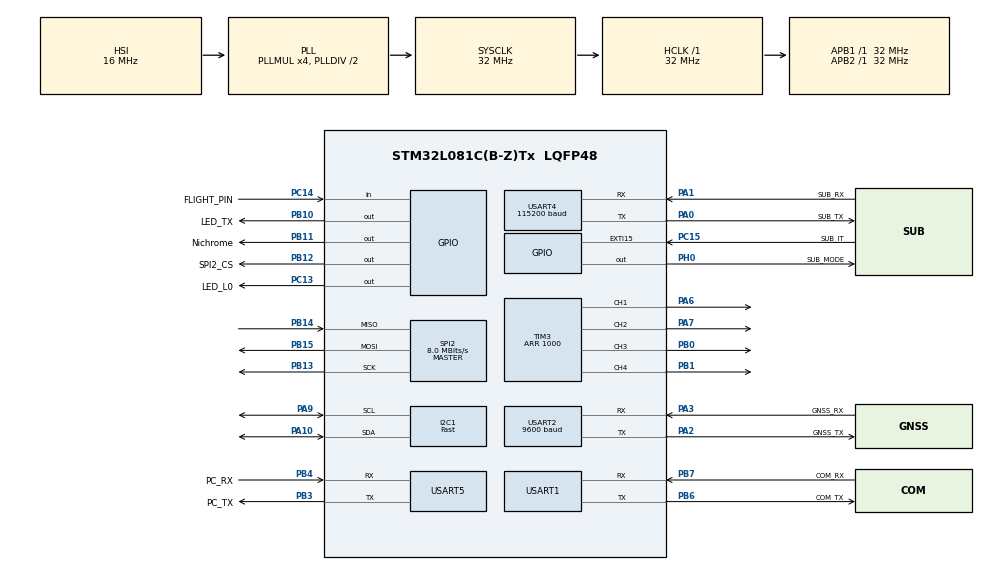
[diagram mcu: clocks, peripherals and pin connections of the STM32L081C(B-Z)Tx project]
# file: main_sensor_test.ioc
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I2C1.I2C_Speed_Mode=I2C_Fast
I2C1.Timing=0x00300F38
Mcu.Family=STM32L0
Mcu.Name=STM32L081C(B-Z)Tx
Mcu.Package=LQFP48
NVIC.EXTI4_15_IRQn=true\:2\:0\:true\:false\:true\:true\:true
NVIC.TIM2_IRQn=true\:1\:0\:true\:false\:true\:true\:true
PA0.GPIO_Label=SUB_TX
PA0.GPIO_PuPd=GPIO_PULLUP
PA0.Mode=Asynchronous
PA0.Signal=USART4_TX
PA1.GPIO_Label=SUB_RX
PA1.GPIO_PuPd=GPIO_PULLUP
PA1.Mode=Asynchronous
PA1.Signal=USART4_RX
PA10.Mode=I2C
PA10.Signal=I2C1_SDA
PA13.Mode=Serial_Wire
PA13.Signal=SYS_SWDIO
PA14.Mode=Serial_Wire
PA14.Signal=SYS_SWCLK
PA2.GPIO_Label=GNSS_TX
PA2.Mode=Asynchronous
PA2.Signal=USART2_TX
PA3.GPIO_Label=GNSS_RX
PA3.Mode=Asynchronous
PA3.Signal=USART2_RX
PA6.Signal=S_TIM3_CH1
PA7.Signal=S_TIM3_CH2
PA9.Mode=I2C
PA9.Signal=I2C1_SCL
PB0.Signal=S_TIM3_CH3
PB1.Signal=S_TIM3_CH4
PB10.GPIO_Label=LED_TX
PB10.Signal=GPIO_Output
PB11.GPIO_Label=Nichrome
PB11.Signal=GPIO_Output
PB12.GPIO_Label=SPI2_CS
PB12.GPIO_PuPd=GPIO_NOPULL
PB12.GPIO_Speed=GPIO_SPEED_FREQ_VERY_HIGH
PB12.PinState=GPIO_PIN_SET
PB12.Signal=GPIO_Output
PB13.Mode=Full_Duplex_Master
PB13.Signal=SPI2_SCK
PB14.Mode=Full_Duplex_Master
PB14.Signal=SPI2_MISO
PB15.Mode=Full_Duplex_Master
PB15.Signal=SPI2_MOSI
PB3.GPIO_Label=PC_TX
PB3.Mode=Asynchronous
PB3.Signal=USART5_TX
PB4.GPIO_Label=PC_RX
PB4.Mode=Asynchronous
PB4.Signal=USART5_RX
PB6.GPIO_Label=COM_TX
PB6.Mode=Asynchronous
PB6.Signal=USART1_TX
PB7.GPIO_Label=COM_RX
PB7.Mode=Asynchronous
PB7.Signal=USART1_RX
PC13.GPIO_Label=LED_L0
PC13.Signal=GPIO_Output
PC14-OSC32_IN.GPIO_Label=FLIGHT_PIN
PC14-OSC32_IN.Signal=GPIO_Input
PC15-OSC32_OUT.GPIO_Label=SUB_IT
PC15-OSC32_OUT.GPIO_ModeDefaultEXTI=GPIO_MODE_IT_RISING
PC15-OSC32_OUT.Signal=GPXTI15
PH0-OSC_IN.GPIO_Label=SUB_MODE
PH0-OSC_IN.Signal=GPIO_Output
ProjectManager.HeapSize=0x200
ProjectManager.StackSize=0x400
ProjectManager.TargetToolchain=STM32CubeIDE
RCC.AHBFreq_Value=32000000
RCC.APB1Freq_Value=32000000
RCC.APB1TimFreq_Value=32000000
RCC.APB2Freq_Value=32000000
RCC.APB2TimFreq_Value=32000000
RCC.HCLKFreq_Value=32000000
RCC.HSE_VALUE=8000000
RCC.HSI16_VALUE=16000000
RCC.HSI_VALUE=16000000
RCC.LSE_VALUE=32768
RCC.MSI_VALUE=2097000
RCC.PLLMUL=RCC_PLLMUL_4
RCC.SYSCLKFreq_VALUE=32000000
RCC.SYSCLKSource=RCC_SYSCLKSOURCE_PLLCLK
RCC.VCOOutputFreq_Value=64000000
SH.S_TIM3_CH1.0=TIM3_CH1,PWM Generation1 CH1
SH.S_TIM3_CH2.0=TIM3_CH2,PWM Generation2 CH2
SH.S_TIM3_CH3.0=TIM3_CH3,PWM Generation3 CH3
SH.S_TIM3_CH4.0=TIM3_CH4,PWM Generation4 CH4
SPI2.BaudRatePrescaler=SPI_BAUDRATEPRESCALER_4
SPI2.CalculateBaudRate=8.0 MBits/s
SPI2.Direction=SPI_DIRECTION_2LINES
SPI2.Mode=SPI_MODE_MASTER
SPI2.VirtualType=VM_MASTER
TIM2.AutoReloadPreload=TIM_AUTORELOAD_PRELOAD_ENABLE
TIM2.Period=1000
TIM2.Prescaler=320
TIM3.Channel-PWM\ Generation1\ CH1=TIM_CHANNEL_1
TIM3.Channel-PWM\ Generation2\ CH2=TIM_CHANNEL_2
TIM3.Channel-PWM\ Generation3\ CH3=TIM_CHANNEL_3
TIM3.Channel-PWM\ Generation4\ CH4=TIM_CHANNEL_4
TIM3.Period=1000
USART1.VirtualMode-Asynchronous=VM_ASYNC
USART2.BaudRate=9600
USART2.DMADisableonRxErrorParam=ADVFEATURE_DMA_DISABLEONRXERROR
USART2.OverrunDisableParam=ADVFEATURE_OVERRUN_DISABLE
USART2.SwapParam=ADVFEATURE_SWAP_DISABLE
USART2.VirtualMode-Asynchronous=VM_ASYNC
USART4.BaudRate=115200
USART4.DMADisableonRxErrorParam=ADVFEATURE_DMA_DISABLEONRXERROR
USART4.OverrunDisableParam=ADVFEATURE_OVERRUN_DISABLE
USART4.SwapParam=ADVFEATURE_SWAP_ENABLE
USART4.VirtualMode-Asynchronous=VM_ASYNC
USART5.VirtualMode-Asynchronous=VM_ASYNC
VP_TIM2_VS_ClockSourceINT.Mode=Internal
board=custom

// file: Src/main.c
/* USER CODE BEGIN Header */
/**
  ******************************************************************************
  * @file           : main.c
  * @brief          : Main program body
  ******************************************************************************
  * @attention
  *
  * <h2><center>&copy; Copyright (c) 2019 STMicroelectronics.
  * All rights reserved.</center></h2>
  *
  * This software component is licensed by ST under BSD 3-Clause license,
  * the "License"; You may not use this file except in compliance with the
  * License. You may obtain a copy of the License at:
  *                        opensource.org/licenses/BSD-3-Clause
  *
  ******************************************************************************
  */
/* USER CODE END Header */

#include "main.h"

/* USER CODE BEGIN Includes */
#include <stdio.h>
#include "cansat.h"
#include "CUI.h"
#include <string.h>
/* USER CODE END Includes */

I2C_HandleTypeDef hi2c1;

SPI_HandleTypeDef hspi2;

TIM_HandleTypeDef htim2;
TIM_HandleTypeDef htim3;

UART_HandleTypeDef huart1;
UART_HandleTypeDef huart2;
UART_HandleTypeDef huart4;
UART_HandleTypeDef huart5;

/* USER CODE BEGIN PV */
void __io_putchar(uint8_t ch) {
	HAL_UART_Transmit(&huart5, &ch, 1, 1);
	HAL_UART_Transmit(&huart1, &ch, 1, 1); //COM
}
/* USER CODE END PV */

void SystemClock_Config(void);
static void MX_GPIO_Init(void);
static void MX_I2C1_Init(void);
static void MX_SPI2_Init(void);
static void MX_TIM3_Init(void);
static void MX_USART1_UART_Init(void);
static void MX_USART2_UART_Init(void);
static void MX_USART4_UART_Init(void);
static void MX_USART5_UART_Init(void);
static void MX_TIM2_Init(void);

/* USER CODE BEGIN 0 */

static img_t img_data = { 0 };
static uint8_t sub_rx_buff[11] = { 0 };
static cansat_t cansat_data;

void HAL_GPIO_EXTI_Callback(uint16_t GPIO_Pin) {
	for (int i = 0; i < 10; i++) {
		HAL_UART_Receive(&huart4, &sub_rx_buff[0], 1, 50);
		if (sub_rx_buff[0] == '$')break;
	}
	HAL_UART_Receive(&huart4, &sub_rx_buff[0], 11, 50);
	if (sub_rx_buff[0] == 'O') {
		img_data.name = (sub_rx_buff[1] << 8) + sub_rx_buff[2];
		img_data.xc = (sub_rx_buff[3] << 8) + sub_rx_buff[4];
		img_data.yc = (sub_rx_buff[5] << 8) + sub_rx_buff[6];
		img_data.s = (sub_rx_buff[7] << 16) + (sub_rx_buff[8] << 8) + sub_rx_buff[9];
	}
	else if (sub_rx_buff[0] == 'o') {
		img_data.name = (sub_rx_buff[2] << 8) + sub_rx_buff[3];
		img_data.xc = (sub_rx_buff[4] << 8) + sub_rx_buff[5];
		img_data.yc = (sub_rx_buff[6] << 8) + sub_rx_buff[7];
		img_data.s = (sub_rx_buff[8] << 16) + (sub_rx_buff[9] << 8) + sub_rx_buff[10];
	}
	else {
		return;
	}
}

void HAL_TIM_PeriodElapsedCallback(TIM_HandleTypeDef* htim) {
	if (htim == &htim2) {
		_motor(&cansat_data.motor, cansat_data.voltage);
	}
}

/* USER CODE END 0 */

int main(void)
{

  /* MCU Configuration--------------------------------------------------------*/

  /* Reset of all peripherals, Initializes the Flash interface and the Systick. */
  HAL_Init();

  /* Configure the system clock */
  SystemClock_Config();

  /* Initialize all configured peripherals */
  MX_GPIO_Init();
  MX_I2C1_Init();
  MX_SPI2_Init();
  MX_TIM3_Init();
  MX_USART1_UART_Init();
  MX_USART2_UART_Init();
  MX_USART4_UART_Init();
  MX_USART5_UART_Init();
  MX_TIM2_Init();
  /* USER CODE BEGIN 2 */

  //---------------------------------------Initialization BEGIN------------------------------------------------
  HAL_NVIC_DisableIRQ(EXTI4_15_IRQn);

  ///HAL_GPIO_WritePin(SUB_EN_GPIO_Port, SUB_EN_Pin, GPIO_PIN_RESET);  //SUB Disable
  HAL_GPIO_WritePin(SUB_MODE_GPIO_Port, SUB_MODE_Pin, GPIO_PIN_SET);//SUB Mode PINK

  HAL_Delay(500);

  printf("Hello Main MCU Sensor test!\n");
  HAL_GPIO_WritePin(LED_L0_GPIO_Port, LED_L0_Pin, GPIO_PIN_SET);
  HAL_GPIO_WritePin(LED_TX_GPIO_Port, LED_TX_Pin, GPIO_PIN_SET);
  HAL_GPIO_WritePin(Nichrome_GPIO_Port, Nichrome_Pin, GPIO_PIN_SET);

  HAL_Delay(200);

  HAL_GPIO_WritePin(LED_L0_GPIO_Port, LED_L0_Pin, GPIO_PIN_RESET);
  HAL_GPIO_WritePin(LED_TX_GPIO_Port, LED_TX_Pin, GPIO_PIN_RESET);
  HAL_GPIO_WritePin(Nichrome_GPIO_Port, Nichrome_Pin, GPIO_PIN_RESET);

  printf("INA226  = %02X\n", ina226_who_am_i());
  printf("LPS25HB = %01X\n", lps25h_who_am_i());
  printf("ADXL375 = %01X\n", adxl375_who_am_i());
  printf("JEDECID = %lX\n", flash_read_ID());

  init_I2C();
  init_gnss();
  init_pwm(&cansat_data.motor);

  set_goalFromEEPROM(0);
  update_sensor(&cansat_data);
  printf("TIME %02d:%02d:%02d\n", cansat_data.gnss.hh, cansat_data.gnss.mm, cansat_data.gnss.ss);
  cansat_data.flash_address = get_startAddress(cansat_data.gnss.hh, cansat_data.gnss.mm, cansat_data.gnss.ss);
  cansat_data.log_num = 0;
  printf("Flash address 0x%lX\n", cansat_data.flash_address);

  HAL_NVIC_EnableIRQ(EXTI4_15_IRQn);
  HAL_TIM_Base_Start_IT(&htim2);
  //---------------------------------------Initialization END------------------------------------------------

  /* USER CODE END 2 */

  /* Infinite loop */
  while (1)
  {

    /* USER CODE BEGIN 3 */
	/*  if (cansat_data.log_num < 20) {
		  motor_Speed(&cansat_data.motor, 100, 0);
	  }
	  else if (cansat_data.log_num < 40) {
		  motor_Speed(&cansat_data.motor, -100, 0);
	  }
	  else if (cansat_data.log_num < 60) {
		  motor_Speed(&cansat_data.motor, 0, 100);
	  }
	  else if (cansat_data.log_num < 80) {
		  motor_Speed(&cansat_data.motor, 0, -100);
	  }
	  else
	  if (cansat_data.log_num > 100) {
		  motor_Speed(&cansat_data.motor, 100, 100);
	  }*/

	  //Enter CUI Mode
	  if (get_char(20) == 'q') {
		  HAL_NVIC_DisableIRQ(EXTI4_15_IRQn);
		  HAL_TIM_Base_Stop_IT(&htim2);
		  motorStop();

		  CUI_main();

		  HAL_NVIC_EnableIRQ(EXTI4_15_IRQn);
		  HAL_TIM_Base_Start_IT(&htim2);
	  };

	  HAL_GPIO_WritePin(LED_L0_GPIO_Port, LED_L0_Pin, GPIO_PIN_SET);
	  update_sensor(&cansat_data);
	  cansat_data.img = img_data;

	  write_log(&cansat_data);

	  HAL_GPIO_WritePin(LED_L0_GPIO_Port, LED_L0_Pin, GPIO_PIN_RESET);

	  if (cansat_data.log_num == 50) {
		  HAL_GPIO_WritePin(SUB_MODE_GPIO_Port, SUB_MODE_Pin, GPIO_PIN_RESET); //SUB Mode RED
	  }
  }
  /* USER CODE END 3 */
}

void SystemClock_Config(void)
{
  RCC_OscInitTypeDef RCC_OscInitStruct = {0};
  RCC_ClkInitTypeDef RCC_ClkInitStruct = {0};
  RCC_PeriphCLKInitTypeDef PeriphClkInit = {0};

  /** Configure the main internal regulator output voltage
  */
  __HAL_PWR_VOLTAGESCALING_CONFIG(PWR_REGULATOR_VOLTAGE_SCALE1);
  /** Initializes the CPU, AHB and APB busses clocks
  */
  RCC_OscInitStruct.OscillatorType = RCC_OSCILLATORTYPE_HSI;
  RCC_OscInitStruct.HSIState = RCC_HSI_ON;
  RCC_OscInitStruct.HSICalibrationValue = RCC_HSICALIBRATION_DEFAULT;
  RCC_OscInitStruct.PLL.PLLState = RCC_PLL_ON;
  RCC_OscInitStruct.PLL.PLLSource = RCC_PLLSOURCE_HSI;
  RCC_OscInitStruct.PLL.PLLMUL = RCC_PLLMUL_4;
  RCC_OscInitStruct.PLL.PLLDIV = RCC_PLLDIV_2;
  if (HAL_RCC_OscConfig(&RCC_OscInitStruct) != HAL_OK)
  {
    Error_Handler();
  }
  /** Initializes the CPU, AHB and APB busses clocks
  */
  RCC_ClkInitStruct.ClockType = RCC_CLOCKTYPE_HCLK|RCC_CLOCKTYPE_SYSCLK
                              |RCC_CLOCKTYPE_PCLK1|RCC_CLOCKTYPE_PCLK2;
  RCC_ClkInitStruct.SYSCLKSource = RCC_SYSCLKSOURCE_PLLCLK;
  RCC_ClkInitStruct.AHBCLKDivider = RCC_SYSCLK_DIV1;
  RCC_ClkInitStruct.APB1CLKDivider = RCC_HCLK_DIV1;
  RCC_ClkInitStruct.APB2CLKDivider = RCC_HCLK_DIV1;

  if (HAL_RCC_ClockConfig(&RCC_ClkInitStruct, FLASH_LATENCY_1) != HAL_OK)
  {
    Error_Handler();
  }
  PeriphClkInit.PeriphClockSelection = RCC_PERIPHCLK_USART1|RCC_PERIPHCLK_USART2
                              |RCC_PERIPHCLK_I2C1;
  PeriphClkInit.Usart1ClockSelection = RCC_USART1CLKSOURCE_PCLK2;
  PeriphClkInit.Usart2ClockSelection = RCC_USART2CLKSOURCE_PCLK1;
  PeriphClkInit.I2c1ClockSelection = RCC_I2C1CLKSOURCE_PCLK1;
  if (HAL_RCCEx_PeriphCLKConfig(&PeriphClkInit) != HAL_OK)
  {
    Error_Handler();
  }
}

static void MX_I2C1_Init(void)
{

  hi2c1.Instance = I2C1;
  hi2c1.Init.Timing = 0x00300F38;
  hi2c1.Init.OwnAddress1 = 0;
  hi2c1.Init.AddressingMode = I2C_ADDRESSINGMODE_7BIT;
  hi2c1.Init.DualAddressMode = I2C_DUALADDRESS_DISABLE;
  hi2c1.Init.OwnAddress2 = 0;
  hi2c1.Init.OwnAddress2Masks = I2C_OA2_NOMASK;
  hi2c1.Init.GeneralCallMode = I2C_GENERALCALL_DISABLE;
  hi2c1.Init.NoStretchMode = I2C_NOSTRETCH_DISABLE;
  if (HAL_I2C_Init(&hi2c1) != HAL_OK)
  {
    Error_Handler();
  }
  /** Configure Analogue filter
  */
  if (HAL_I2CEx_ConfigAnalogFilter(&hi2c1, I2C_ANALOGFILTER_ENABLE) != HAL_OK)
  {
    Error_Handler();
  }
  /** Configure Digital filter
  */
  if (HAL_I2CEx_ConfigDigitalFilter(&hi2c1, 0) != HAL_OK)
  {
    Error_Handler();
  }

}

static void MX_SPI2_Init(void)
{

  /* SPI2 parameter configuration*/
  hspi2.Instance = SPI2;
  hspi2.Init.Mode = SPI_MODE_MASTER;
  hspi2.Init.Direction = SPI_DIRECTION_2LINES;
  hspi2.Init.DataSize = SPI_DATASIZE_8BIT;
  hspi2.Init.CLKPolarity = SPI_POLARITY_LOW;
  hspi2.Init.CLKPhase = SPI_PHASE_1EDGE;
  hspi2.Init.NSS = SPI_NSS_SOFT;
  hspi2.Init.BaudRatePrescaler = SPI_BAUDRATEPRESCALER_4;
  hspi2.Init.FirstBit = SPI_FIRSTBIT_MSB;
  hspi2.Init.TIMode = SPI_TIMODE_DISABLE;
  hspi2.Init.CRCCalculation = SPI_CRCCALCULATION_DISABLE;
  hspi2.Init.CRCPolynomial = 7;
  if (HAL_SPI_Init(&hspi2) != HAL_OK)
  {
    Error_Handler();
  }

}

static void MX_TIM2_Init(void)
{

  TIM_ClockConfigTypeDef sClockSourceConfig = {0};
  TIM_MasterConfigTypeDef sMasterConfig = {0};

  htim2.Instance = TIM2;
  htim2.Init.Prescaler = 320;
  htim2.Init.CounterMode = TIM_COUNTERMODE_UP;
  htim2.Init.Period = 1000;
  htim2.Init.ClockDivision = TIM_CLOCKDIVISION_DIV1;
  htim2.Init.AutoReloadPreload = TIM_AUTORELOAD_PRELOAD_ENABLE;
  if (HAL_TIM_Base_Init(&htim2) != HAL_OK)
  {
    Error_Handler();
  }
  sClockSourceConfig.ClockSource = TIM_CLOCKSOURCE_INTERNAL;
  if (HAL_TIM_ConfigClockSource(&htim2, &sClockSourceConfig) != HAL_OK)
  {
    Error_Handler();
  }
  sMasterConfig.MasterOutputTrigger = TIM_TRGO_RESET;
  sMasterConfig.MasterSlaveMode = TIM_MASTERSLAVEMODE_DISABLE;
  if (HAL_TIMEx_MasterConfigSynchronization(&htim2, &sMasterConfig) != HAL_OK)
  {
    Error_Handler();
  }

}

static void MX_TIM3_Init(void)
{

  TIM_MasterConfigTypeDef sMasterConfig = {0};
  TIM_OC_InitTypeDef sConfigOC = {0};

  htim3.Instance = TIM3;
  htim3.Init.Prescaler = 0;
  htim3.Init.CounterMode = TIM_COUNTERMODE_UP;
  htim3.Init.Period = 1000;
  htim3.Init.ClockDivision = TIM_CLOCKDIVISION_DIV1;
  htim3.Init.AutoReloadPreload = TIM_AUTORELOAD_PRELOAD_DISABLE;
  if (HAL_TIM_PWM_Init(&htim3) != HAL_OK)
  {
    Error_Handler();
  }
  sMasterConfig.MasterOutputTrigger = TIM_TRGO_RESET;
  sMasterConfig.MasterSlaveMode = TIM_MASTERSLAVEMODE_DISABLE;
  if (HAL_TIMEx_MasterConfigSynchronization(&htim3, &sMasterConfig) != HAL_OK)
  {
    Error_Handler();
  }
  sConfigOC.OCMode = TIM_OCMODE_PWM1;
  sConfigOC.Pulse = 0;
  sConfigOC.OCPolarity = TIM_OCPOLARITY_HIGH;
  sConfigOC.OCFastMode = TIM_OCFAST_DISABLE;
  if (HAL_TIM_PWM_ConfigChannel(&htim3, &sConfigOC, TIM_CHANNEL_1) != HAL_OK)
  {
    Error_Handler();
  }
  /*if (HAL_TIMEx_RemapConfig(&htim3, TIM3_TI1_GPIO) != HAL_OK)
  {
    Error_Handler();
  }*/
  if (HAL_TIM_PWM_ConfigChannel(&htim3, &sConfigOC, TIM_CHANNEL_2) != HAL_OK)
  {
    Error_Handler();
  }
  if (HAL_TIM_PWM_ConfigChannel(&htim3, &sConfigOC, TIM_CHANNEL_3) != HAL_OK)
  {
    Error_Handler();
  }
  if (HAL_TIM_PWM_ConfigChannel(&htim3, &sConfigOC, TIM_CHANNEL_4) != HAL_OK)
  {
    Error_Handler();
  }
  HAL_TIM_MspPostInit(&htim3);

}

static void MX_USART1_UART_Init(void)
{

  huart1.Instance = USART1;
  huart1.Init.BaudRate = 115200;
  huart1.Init.WordLength = UART_WORDLENGTH_8B;
  huart1.Init.StopBits = UART_STOPBITS_1;
  huart1.Init.Parity = UART_PARITY_NONE;
  huart1.Init.Mode = UART_MODE_TX_RX;
  huart1.Init.HwFlowCtl = UART_HWCONTROL_NONE;
  huart1.Init.OverSampling = UART_OVERSAMPLING_16;
  huart1.Init.OneBitSampling = UART_ONE_BIT_SAMPLE_DISABLE;
  huart1.AdvancedInit.AdvFeatureInit = UART_ADVFEATURE_RXOVERRUNDISABLE_INIT|UART_ADVFEATURE_DMADISABLEONERROR_INIT;
  huart1.AdvancedInit.OverrunDisable = UART_ADVFEATURE_OVERRUN_DISABLE;
  huart1.AdvancedInit.DMADisableonRxError = UART_ADVFEATURE_DMA_DISABLEONRXERROR;
  if (HAL_UART_Init(&huart1) != HAL_OK)
  {
    Error_Handler();
  }

}

static void MX_USART2_UART_Init(void)
{

  huart2.Instance = USART2;
  huart2.Init.BaudRate = 9600;
  huart2.Init.WordLength = UART_WORDLENGTH_8B;
  huart2.Init.StopBits = UART_STOPBITS_1;
  huart2.Init.Parity = UART_PARITY_NONE;
  huart2.Init.Mode = UART_MODE_TX_RX;
  huart2.Init.HwFlowCtl = UART_HWCONTROL_NONE;
  huart2.Init.OverSampling = UART_OVERSAMPLING_16;
  huart2.Init.OneBitSampling = UART_ONE_BIT_SAMPLE_DISABLE;
  huart2.AdvancedInit.AdvFeatureInit = UART_ADVFEATURE_RXOVERRUNDISABLE_INIT|UART_ADVFEATURE_DMADISABLEONERROR_INIT;
  huart2.AdvancedInit.OverrunDisable = UART_ADVFEATURE_OVERRUN_DISABLE;
  huart2.AdvancedInit.DMADisableonRxError = UART_ADVFEATURE_DMA_DISABLEONRXERROR;
  if (HAL_UART_Init(&huart2) != HAL_OK)
  {
    Error_Handler();
  }

}

static void MX_USART4_UART_Init(void)
{

  huart4.Instance = USART4;
  huart4.Init.BaudRate = 115200;
  huart4.Init.WordLength = UART_WORDLENGTH_8B;
  huart4.Init.StopBits = UART_STOPBITS_1;
  huart4.Init.Parity = UART_PARITY_NONE;
  huart4.Init.Mode = UART_MODE_TX_RX;
  huart4.Init.HwFlowCtl = UART_HWCONTROL_NONE;
  huart4.Init.OverSampling = UART_OVERSAMPLING_16;
  huart4.Init.OneBitSampling = UART_ONE_BIT_SAMPLE_DISABLE;
  huart4.AdvancedInit.AdvFeatureInit = UART_ADVFEATURE_SWAP_INIT|UART_ADVFEATURE_RXOVERRUNDISABLE_INIT
                              |UART_ADVFEATURE_DMADISABLEONERROR_INIT;
  huart4.AdvancedInit.Swap = UART_ADVFEATURE_SWAP_ENABLE;
  huart4.AdvancedInit.OverrunDisable = UART_ADVFEATURE_OVERRUN_DISABLE;
  huart4.AdvancedInit.DMADisableonRxError = UART_ADVFEATURE_DMA_DISABLEONRXERROR;
  if (HAL_UART_Init(&huart4) != HAL_OK)
  {
    Error_Handler();
  }

}

static void MX_USART5_UART_Init(void)
{

  huart5.Instance = USART5;
  huart5.Init.BaudRate = 115200;
  huart5.Init.WordLength = UART_WORDLENGTH_8B;
  huart5.Init.StopBits = UART_STOPBITS_1;
  huart5.Init.Parity = UART_PARITY_NONE;
  huart5.Init.Mode = UART_MODE_TX_RX;
  huart5.Init.HwFlowCtl = UART_HWCONTROL_NONE;
  huart5.Init.OverSampling = UART_OVERSAMPLING_16;
  huart5.Init.OneBitSampling = UART_ONE_BIT_SAMPLE_DISABLE;
  huart5.AdvancedInit.AdvFeatureInit = UART_ADVFEATURE_RXOVERRUNDISABLE_INIT|UART_ADVFEATURE_DMADISABLEONERROR_INIT;
  huart5.AdvancedInit.OverrunDisable = UART_ADVFEATURE_OVERRUN_DISABLE;
  huart5.AdvancedInit.DMADisableonRxError = UART_ADVFEATURE_DMA_DISABLEONRXERROR;
  if (HAL_UART_Init(&huart5) != HAL_OK)
  {
    Error_Handler();
  }

}

static void MX_GPIO_Init(void)
{
  GPIO_InitTypeDef GPIO_InitStruct = {0};

  /* GPIO Ports Clock Enable */
  __HAL_RCC_GPIOC_CLK_ENABLE();
  __HAL_RCC_GPIOH_CLK_ENABLE();
  __HAL_RCC_GPIOA_CLK_ENABLE();
  __HAL_RCC_GPIOB_CLK_ENABLE();

  /*Configure GPIO pin Output Level */
  HAL_GPIO_WritePin(LED_L0_GPIO_Port, LED_L0_Pin, GPIO_PIN_RESET);

  /*Configure GPIO pin Output Level */
  HAL_GPIO_WritePin(SUB_MODE_GPIO_Port, SUB_MODE_Pin, GPIO_PIN_RESET);

  /*Configure GPIO pin Output Level */
  HAL_GPIO_WritePin(GPIOB, LED_TX_Pin|Nichrome_Pin, GPIO_PIN_RESET);

  /*Configure GPIO pin Output Level */
  HAL_GPIO_WritePin(SPI2_CS_GPIO_Port, SPI2_CS_Pin, GPIO_PIN_SET);

  /*Configure GPIO pin : LED_L0_Pin */
  GPIO_InitStruct.Pin = LED_L0_Pin;
  GPIO_InitStruct.Mode = GPIO_MODE_OUTPUT_PP;
  GPIO_InitStruct.Pull = GPIO_NOPULL;
  GPIO_InitStruct.Speed = GPIO_SPEED_FREQ_LOW;
  HAL_GPIO_Init(LED_L0_GPIO_Port, &GPIO_InitStruct);

  /*Configure GPIO pin : FLIGHT_PIN_Pin */
  GPIO_InitStruct.Pin = FLIGHT_PIN_Pin;
  GPIO_InitStruct.Mode = GPIO_MODE_INPUT;
  GPIO_InitStruct.Pull = GPIO_NOPULL;
  HAL_GPIO_Init(FLIGHT_PIN_GPIO_Port, &GPIO_InitStruct);

  /*Configure GPIO pin : SUB_IT_Pin */
  GPIO_InitStruct.Pin = SUB_IT_Pin;
  GPIO_InitStruct.Mode = GPIO_MODE_IT_RISING;
  GPIO_InitStruct.Pull = GPIO_NOPULL;
  HAL_GPIO_Init(SUB_IT_GPIO_Port, &GPIO_InitStruct);

  /*Configure GPIO pin : SUB_MODE_Pin */
  GPIO_InitStruct.Pin = SUB_MODE_Pin;
  GPIO_InitStruct.Mode = GPIO_MODE_OUTPUT_PP;
  GPIO_InitStruct.Pull = GPIO_NOPULL;
  GPIO_InitStruct.Speed = GPIO_SPEED_FREQ_LOW;
  HAL_GPIO_Init(SUB_MODE_GPIO_Port, &GPIO_InitStruct);

  /*Configure GPIO pins : LED_TX_Pin Nichrome_Pin */
  GPIO_InitStruct.Pin = LED_TX_Pin|Nichrome_Pin;
  GPIO_InitStruct.Mode = GPIO_MODE_OUTPUT_PP;
  GPIO_InitStruct.Pull = GPIO_NOPULL;
  GPIO_InitStruct.Speed = GPIO_SPEED_FREQ_LOW;
  HAL_GPIO_Init(GPIOB, &GPIO_InitStruct);

  /*Configure GPIO pin : SPI2_CS_Pin */
  GPIO_InitStruct.Pin = SPI2_CS_Pin;
  GPIO_InitStruct.Mode = GPIO_MODE_OUTPUT_PP;
  GPIO_InitStruct.Pull = GPIO_NOPULL;
  GPIO_InitStruct.Speed = GPIO_SPEED_FREQ_VERY_HIGH;
  HAL_GPIO_Init(SPI2_CS_GPIO_Port, &GPIO_InitStruct);

  /* EXTI interrupt init*/
  HAL_NVIC_SetPriority(EXTI4_15_IRQn, 2, 0);
  HAL_NVIC_EnableIRQ(EXTI4_15_IRQn);

}

void Error_Handler(void)
{
}

/************************ (C) COPYRIGHT STMicroelectronics *****END OF FILE****/
